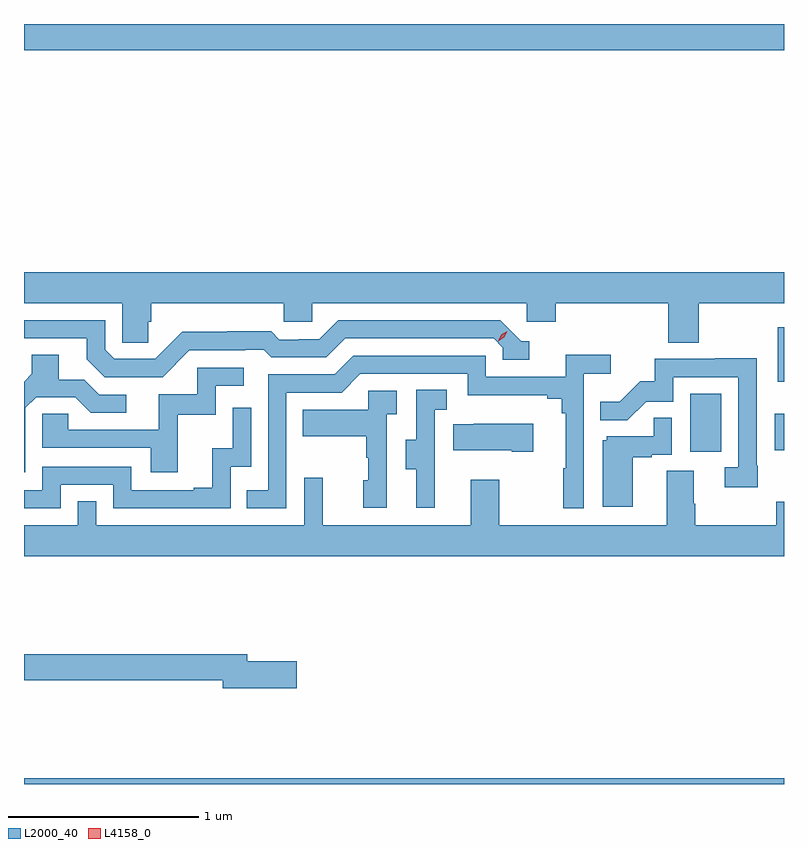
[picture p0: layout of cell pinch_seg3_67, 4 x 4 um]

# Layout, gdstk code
import gdstk
lib = gdstk.Library(unit=1e-6, precision=1e-09)
def R(c, l, rs):  # rectangles x0, y0, x1, y1
    for r in rs: c.add(gdstk.rectangle(r[:2], r[2:], *l))
def P(c, l, *ps):  # polygons
    for p in ps: c.add(gdstk.Polygon(p, *l))
L2000_40 = (2000, 40)
L4158_0 = (4158, 0)

pinch_seg3_67 = lib.new_cell('pinch_seg3_67')
R(pinch_seg3_67, L2000_40, [(1022.327,730.354,1026.327,730.384), (1025.834,732.102,1025.998,732.409), (1026.278,732.11,1026.327,732.304), (1026.293,732.47,1026.327,732.757), (1022.327,734.216,1026.327,734.354)])
P(pinch_seg3_67, L2000_40, [(1022.327,732.884),(1022.844,732.884),(1022.844,732.676),(1022.981,732.676),(1022.981,732.786),(1022.996,732.786),(1022.996,732.884),(1023.693,732.884),(1023.693,732.786),(1023.843,732.786),(1023.843,732.884),(1024.974,732.884),(1024.974,732.786),(1025.126,732.786),(1025.126,732.884),(1025.717,732.884),(1025.717,732.676),(1025.877,732.676),(1025.877,732.884),(1026.327,732.884),(1026.327,733.048),(1022.327,733.048)],
  [(1023.198,732.636),(1023.491,732.636),(1023.491,732.639),(1023.59,732.639),(1023.629,732.6),(1023.918,732.6),(1024.017,732.699),(1024.8,732.699),(1024.848,732.651),(1024.848,732.588),(1024.987,732.588),(1024.987,732.684),(1024.944,732.684),(1024.833,732.795),(1023.98,732.795),(1023.881,732.696),(1023.774,732.696),(1023.774,732.693),(1023.671,732.693),(1023.629,732.736),(1023.396,732.736),(1023.396,732.733),(1023.16,732.733),(1023.018,732.591),(1022.802,732.591),(1022.754,732.639),(1022.754,732.795),(1022.327,732.795),(1022.327,732.699),(1022.657,732.699),(1022.657,732.589),(1022.751,732.495),(1023.057,732.495)],
  [(1023.708,732.414),(1023.999,732.414),(1024.098,732.513),(1024.662,732.513),(1024.662,732.401),(1025.081,732.401),(1025.081,732.382),(1025.158,732.382),(1025.158,732.305),(1025.177,732.305),(1025.177,732.017),(1025.166,732.017),(1025.166,731.805),(1025.274,731.805),(1025.274,732.512),(1025.416,732.512),(1025.416,732.614),(1025.177,732.614),(1025.177,732.498),(1024.758,732.498),(1024.758,732.609),(1024.061,732.609),(1023.962,732.51),(1023.612,732.51),(1023.612,731.901),(1023.499,731.901),(1023.499,731.805),(1023.708,731.805)],
  [(1022.334,732.333),(1022.391,732.39),(1022.597,732.39),(1022.678,732.309),(1022.866,732.309),(1022.866,732.402),(1022.724,732.402),(1022.644,732.482),(1022.509,732.482),(1022.509,732.614),(1022.369,732.614),(1022.369,732.512),(1022.327,732.47),(1022.327,731.994),(1022.334,731.994)],
  [(1026.188,732.028),(1026.183,732.028),(1026.183,732.596),(1025.965,732.596),(1025.965,732.591),(1025.647,732.591),(1025.647,732.474),(1025.57,732.474),(1025.463,732.367),(1025.359,732.367),(1025.359,732.268),(1025.503,732.268),(1025.601,732.366),(1025.745,732.366),(1025.745,732.495),(1026.087,732.495),(1026.087,732.021),(1026.015,732.021),(1026.015,731.916),(1026.188,731.916)],
  [(1023.137,732.297),(1023.336,732.297),(1023.336,732.45),(1023.484,732.45),(1023.484,732.546),(1023.24,732.546),(1023.24,732.405),(1023.035,732.405),(1023.035,732.219),(1022.561,732.219),(1022.561,732.303),(1022.424,732.303),(1022.424,732.123),(1022.993,732.123),(1022.993,731.994),(1023.137,731.994)],
  [(1024.49,732.021),(1024.488,732.021),(1024.488,732.325),(1024.552,732.325),(1024.552,732.428),(1024.392,732.428),(1024.392,732.165),(1024.337,732.165),(1024.337,732.01),(1024.391,732.01),(1024.391,731.808),(1024.49,731.808)],
  [(1024.236,732.299),(1024.288,732.299),(1024.288,732.423),(1024.14,732.423),(1024.14,732.325),(1023.793,732.325),(1023.793,732.185),(1024.128,732.185),(1024.128,732.071),(1024.138,732.071),(1024.138,731.952),(1024.112,731.952),(1024.112,731.808),(1024.236,731.808)],
  [(1022.52,731.928),(1022.796,731.928),(1022.796,731.805),(1023.414,731.805),(1023.414,732.024),(1023.522,732.024),(1023.522,732.334),(1023.426,732.334),(1023.426,732.122),(1023.317,732.122),(1023.317,731.914),(1023.221,731.914),(1023.221,731.901),(1022.892,731.901),(1022.892,732.024),(1022.424,732.024),(1022.424,731.901),(1022.327,731.901),(1022.327,731.805),(1022.52,731.805)],
  [(1025.53,732.075),(1025.63,732.075),(1025.63,732.087),(1025.736,732.087),(1025.736,732.281),(1025.641,732.281),(1025.641,732.183),(1025.394,732.183),(1025.394,732.162),(1025.372,732.162),(1025.372,731.814),(1025.53,731.814)],
  [(1025.007,732.25),(1024.693,732.25),(1024.693,732.247),(1024.585,732.247),(1024.585,732.11),(1024.895,732.11),(1024.895,732.103),(1025.007,732.103)],
  [(1026.327,731.84),(1026.286,731.84),(1026.286,731.716),(1025.859,731.716),(1025.859,731.828),(1025.851,731.828),(1025.851,732.002),(1025.711,732.002),(1025.711,731.716),(1024.827,731.716),(1024.827,731.956),(1024.679,731.956),(1024.679,731.716),(1023.899,731.716),(1023.899,731.965),(1023.801,731.965),(1023.801,731.716),(1022.706,731.716),(1022.706,731.843),(1022.61,731.843),(1022.61,731.716),(1022.327,731.716),(1022.327,731.552),(1026.327,731.552)],
  [(1023.763,731),(1023.502,731),(1023.502,731.036),(1022.327,731.036),(1022.327,730.9),(1023.374,730.9),(1023.374,730.858),(1023.763,730.858)])
P(pinch_seg3_67, L4158_0, [(1024.824,732.685),(1024.824,732.685),(1024.839,732.718),(1024.87,732.738),(1024.87,732.738),(1024.87,732.738),(1024.854,732.705),(1024.824,732.685)])

lib.write_gds('pinch_seg3_67.gds')
